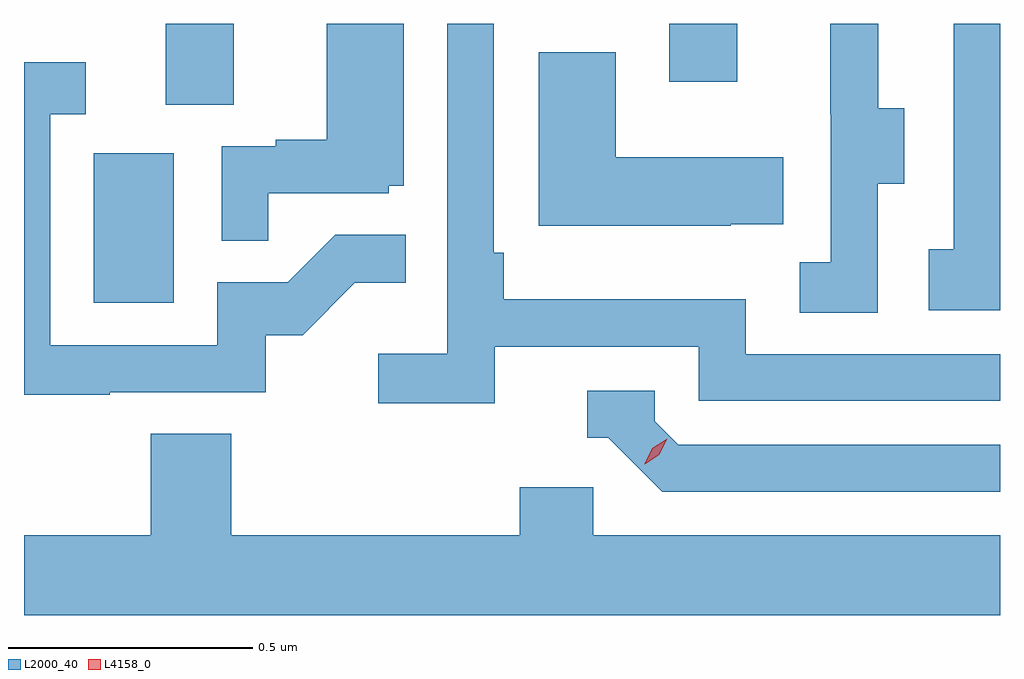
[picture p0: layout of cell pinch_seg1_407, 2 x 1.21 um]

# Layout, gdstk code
import gdstk
lib = gdstk.Library(unit=1e-6, precision=1e-09)
def R(c, l, rs):  # rectangles x0, y0, x1, y1
    for r in rs: c.add(gdstk.rectangle(r[:2], r[2:], *l))
def P(c, l, *ps):  # polygons
    for p in ps: c.add(gdstk.Polygon(p, *l))
L2000_40 = (2000, 40)
L4158_0 = (4158, 0)

pinch_seg1_407 = lib.new_cell('pinch_seg1_407')
R(pinch_seg1_407, L2000_40, [(1011.806,525.732,1011.97,526.039), (1011.953,526.138,1012.093,526.304), (1012.985,526.185,1013.125,526.304)])
P(pinch_seg1_407, L2000_40, [(1012.628,525.642),(1013.046,525.642),(1013.046,525.531),(1013.663,525.531),(1013.663,525.627),(1013.142,525.627),(1013.142,525.739),(1012.646,525.739),(1012.646,525.835),(1012.626,525.835),(1012.626,526.304),(1012.53,526.304),(1012.53,525.628),(1012.389,525.628),(1012.389,525.526),(1012.628,525.526)],
  [(1013.412,525.976),(1013.467,525.976),(1013.467,526.131),(1013.413,526.131),(1013.413,526.304),(1013.315,526.304),(1013.315,526.119),(1013.316,526.119),(1013.316,525.815),(1013.253,525.815),(1013.253,525.712),(1013.412,525.712)],
  [(1013.663,526.304),(1013.568,526.304),(1013.568,525.842),(1013.517,525.842),(1013.517,525.717),(1013.663,525.717)],
  [(1012.163,525.957),(1012.41,525.957),(1012.41,525.972),(1012.441,525.972),(1012.441,526.304),(1012.283,526.304),(1012.283,526.066),(1012.179,526.066),(1012.179,526.053),(1012.068,526.053),(1012.068,525.859),(1012.163,525.859)],
  [(1013.111,525.893),(1013.219,525.893),(1013.219,526.03),(1012.876,526.03),(1012.876,526.246),(1012.718,526.246),(1012.718,525.89),(1013.111,525.89)],
  [(1011.839,525.549),(1012.158,525.549),(1012.158,525.666),(1012.234,525.666),(1012.341,525.773),(1012.445,525.773),(1012.445,525.872),(1012.301,525.872),(1012.203,525.774),(1012.059,525.774),(1012.059,525.645),(1011.717,525.645),(1011.717,526.119),(1011.79,526.119),(1011.79,526.225),(1011.663,526.225),(1011.663,525.544),(1011.839,525.544)],
  [(1013.663,525.441),(1013.004,525.441),(1012.956,525.489),(1012.956,525.552),(1012.817,525.552),(1012.817,525.456),(1012.86,525.456),(1012.971,525.345),(1013.663,525.345)],
  [(1013.663,525.256),(1012.83,525.256),(1012.83,525.354),(1012.679,525.354),(1012.679,525.256),(1012.088,525.256),(1012.088,525.464),(1011.923,525.464),(1011.923,525.256),(1011.663,525.256),(1011.663,525.092),(1013.663,525.092)])
P(pinch_seg1_407, L4158_0, [(1012.935,525.401),(1012.935,525.402),(1012.95,525.434),(1012.981,525.454),(1012.981,525.454),(1012.981,525.454),(1012.965,525.421),(1012.935,525.401)])

lib.write_gds('pinch_seg1_407.gds')
